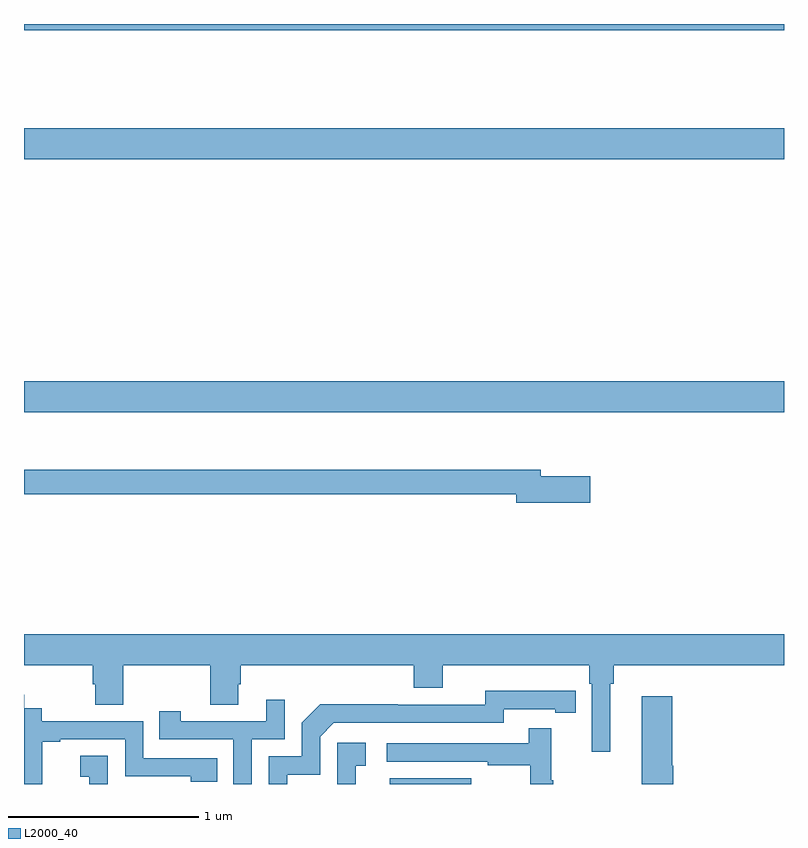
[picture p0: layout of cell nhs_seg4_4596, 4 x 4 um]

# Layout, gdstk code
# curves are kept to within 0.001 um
import gdstk
lib = gdstk.Library(unit=1e-6, precision=1e-09)
def R(c, l, rs):  # rectangles x0, y0, x1, y1
    for r in rs: c.add(gdstk.rectangle(r[:2], r[2:], *l))
def P(c, l, *ps):  # polygons
    for p in ps: c.add(gdstk.Polygon(p, *l))
L2000_40 = (2000, 40)

nhs_seg4_4596 = lib.new_cell('nhs_seg4_4596')
R(nhs_seg4_4596, L2000_40, [(360.926,758.9,361.354,758.929), (359,760.856,363,761.02), (359,762.188,363,762.352), (359,762.868,363,762.9)])
P(nhs_seg4_4596, L2000_40, [(361.981,760.521),(361.72,760.521),(361.72,760.555),(359,760.555),(359,760.426),(361.592,760.426),(361.592,760.379),(361.981,760.379)],
  [(362.086,759.428),(362.105,759.428),(362.105,759.524),(363,759.524),(363,759.688),(359,759.688),(359,759.524),(359.363,759.524),(359.363,759.426),(359.375,759.426),(359.375,759.316),(359.523,759.316),(359.523,759.524),(359.98,759.524),(359.98,759.316),(360.127,759.316),(360.127,759.426),(360.14,759.426),(360.14,759.524),(361.052,759.524),(361.052,759.407),(361.204,759.407),(361.204,759.524),(361.976,759.524),(361.976,759.428),(361.989,759.428),(361.989,759.069),(362.086,759.069)],
  [(360.385,758.949),(360.558,758.949),(360.558,759.15),(360.63,759.222),(361.524,759.222),(361.524,759.294),(361.796,759.294),(361.796,759.274),(361.904,759.274),(361.904,759.39),(361.428,759.391),(361.428,759.318),(360.968,759.318),(360.968,759.32),(360.56,759.32),(360.462,759.222),(360.462,759.045),(360.288,759.045),(360.288,758.9),(360.385,758.9)],
  [(359.096,759.123),(359.191,759.123),(359.191,759.135),(359.532,759.135),(359.532,758.94),(359.877,758.94),(359.877,758.913),(360.017,758.913),(360.017,759.036),(359.628,759.036),(359.628,759.231),(359.094,759.231),(359.094,759.3),(359.002,759.3),(359.002,759.37),(359,759.37),(359,758.9),(359.096,758.9)],
  [(362.416,758.997),(362.411,758.997),(362.411,759.361),(362.252,759.361),(362.252,758.9),(362.416,758.9)],
  [(360.198,759.135),(360.372,759.135),(360.372,759.343),(360.275,759.343),(360.275,759.231),(359.824,759.231),(359.824,759.283),(359.713,759.283),(359.713,759.135),(360.102,759.135),(360.102,758.9),(360.198,758.9)],
  [(361.786,758.921),(361.775,758.921),(361.775,759.193),(361.657,759.193),(361.657,759.114),(360.909,759.114),(360.909,759.018),(361.441,759.018),(361.441,758.998),(361.665,758.998),(361.665,758.9),(361.786,758.9)],
  [(360.746,758.997),(360.799,758.997),(360.799,759.118),(360.648,759.118),(360.648,758.9),(360.746,758.9)],
  [(359.442,759.049),(359.295,759.049),(359.295,758.939),(359.344,758.939),(359.344,758.9),(359.442,758.9)])

lib.write_gds('nhs_seg4_4596.gds')
